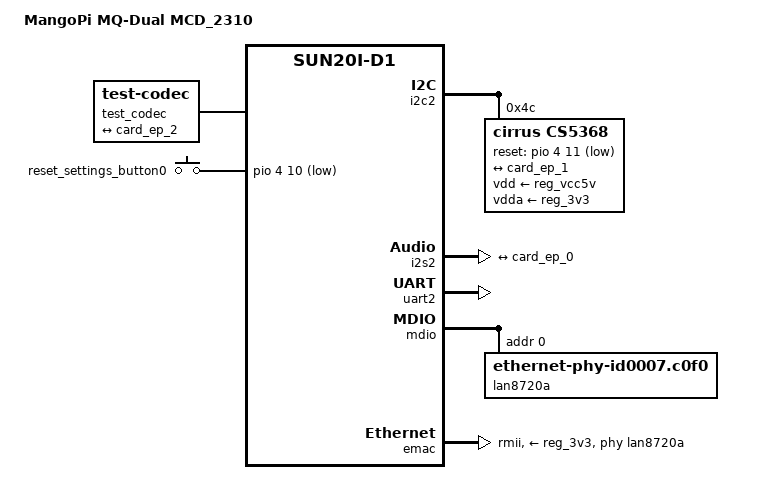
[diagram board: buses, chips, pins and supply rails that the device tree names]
// SPDX-License-Identifier: (GPL-2.0+ or MIT)
// Copyright (C) 2022 Samuel Holland <samuel@sholland.org>

/dts-v1/;

#include "mangopi-common.dtsi"

/ {
	model = "MangoPi MQ-Dual MCD_2310";
	compatible = "allwinner,sun20i-d1", "allwinner,sun8i";

	chosen {
		stdout-path = "serial2:115200n8";
	};

	test_codec {
		compatible = "test-codec";
		port {
			test_ep: endpoint {
				remote-endpoint = <&card_ep_2>;
			};
		};
	};

	sound {
		compatible = "audio-graph-card2";
		label = "CS5368";
		links = <&i2s2_port>;
		multi {
			ports {
				#address-cells = <1>;
				#size-cells = <0>;
				convert-channels = <16>;
				port@0 {
					card_ep_0: endpoint {
						remote-endpoint = <&i2s2_ep>;
					};
				};
				port@1 {
					card_ep_1: endpoint {
						remote-endpoint = <&cs5368_ep>;
					};
				};
				port@2 {
					card_ep_2: endpoint {
						remote-endpoint = <&test_ep>;
					};
				};
			};
		};
	};

	buttons {
		compatible = "gpio-keys";
		pinctrl-names = "default";
		#address-cells = <1>;
		#size-cells = <0>;
		autorepeat;
		bias-pull-up;

		reset_settings_button@0 {
			label = "reset_settings_button0";
			linux,code = <28>; /* KEY_POWER */
			gpios = <&pio 4 10 GPIO_ACTIVE_LOW>; /* PE10 */
		};
	};
};

&i2c2 {
	pinctrl-0 = <&i2c2_pe12_pins>;
	pinctrl-names = "default";
	status = "okay";
	cs5368: tdm-adc-1@0x4c {
		reg = <0x4c>;
		compatible = "cirrus,cs5368";
		vdd-supply = <&reg_vcc5v>;
		vdda-supply = <&reg_3v3>;
		reset-gpios = <&pio 4 11 GPIO_ACTIVE_LOW>; /* PE11 */
		port {
			cs5368_ep: endpoint {
				dai-tdm-slot-num = <8>;
				dai-tdm-slot-width = <32>;
				remote-endpoint = <&card_ep_1>;
			};
		};
	};
};

&i2s2 {
	pinctrl-0 = <&i2s2_pins>, <&i2s2_din_pins>;
	pinctrl-names = "default";
	status = "okay";
	channel-slots = /bits/ 8 <0 1 2 3 4 5 6 7 0 1 2 3 4 5 6 7>;
	channel-dins = /bits/ 8 <0 0 0 0 0 0 0 0 2 2 2 2 2 2 2 2>;
	i2s2_port: port {
		i2s2_ep: endpoint {
			format = "i2s";
			bitclock-master;
			frame-master;
			mclk-fs = <256>;
			dai-tdm-slot-num = <8>;
			dai-tdm-slot-width = <32>;
			remote-endpoint = <&card_ep_0>;
		};
	};
};

&uart2 {
	status = "okay";
};

&mdio {
	status = "okay";
	lan8720a: ethernet-phy@0 {
		compatible = "ethernet-phy-id0007.c0f0", "ethernet-phy-ieee802.3-c22";
		reg = <0>;
	};
};

&emac {
	pinctrl-0 = <&rmii_pe_pins>;
	pinctrl-names = "default";
	phy-handle = <&lan8720a>;
	phy-mode = "rmii";
	phy-supply = <&reg_3v3>;
	status = "okay";
};

